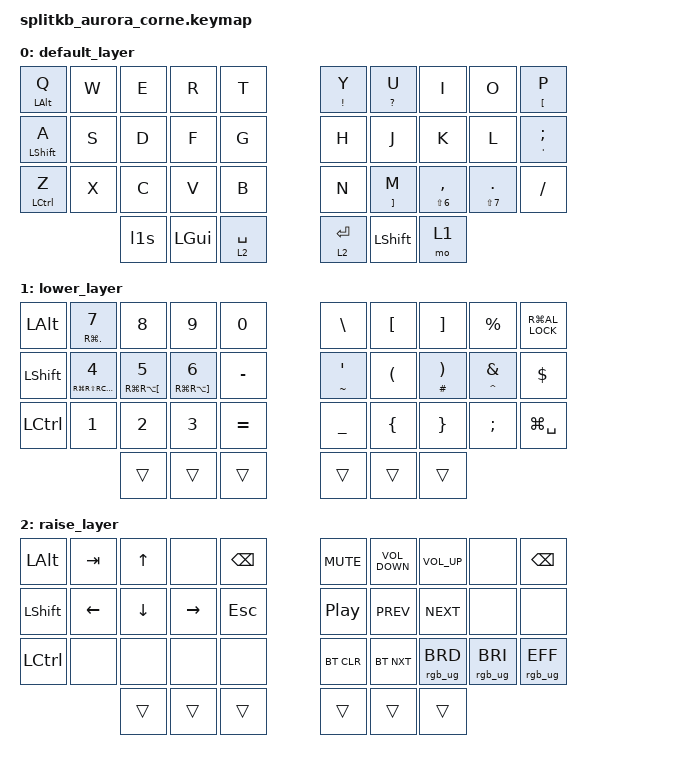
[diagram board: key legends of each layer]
/*
 * Copyright (c) 2020 The ZMK Contributors
 *
 * SPDX-License-Identifier: MIT
 */

#include <behaviors.dtsi>
#include <dt-bindings/zmk/bt.h>
#include <dt-bindings/zmk/keys.h>
#include <dt-bindings/zmk/rgb.h>
#include <dt-bindings/zmk/ext_power.h>

&led_strip {
    chain-length = <2>;
};
&mt {
    flavor = "tap-preferred";
};
/ {
    chosen {
        zmk,matrix_transform = &five_column_transform;
        zmk,battery = &vbatt;
    };

    vbatt: vbatt {
        compatible = "zmk,battery-nrf-vddh";
        label = "VBATT";
    };
    behaviors {
        l1s: tap_dance_mod_tap_3 {
                compatible = "zmk,behavior-tap-dance";
                #binding-cells = <0>;
                tapping-term-ms = <200>;
                bindings = <&mo 1>, <&kp RET>;
                };
    };
    keymap {
        compatible = "zmk,keymap";

        default_layer {
                        bindings = <
                        &mt LALT Q  &kp W       &kp E     &kp R     &kp T         &mt EXCL Y      &mt QUESTION U        &kp I                    &kp O                  &mt LEFT_BRACKET P
                        &mt LSHFT A &kp S       &kp D     &kp F     &kp G         &kp H           &kp J                 &kp K                    &kp L                  &mt SQT SEMI
                        &mt LCTRL Z &kp X       &kp C     &kp V     &kp B         &kp N           &mt RIGHT_BRACKET M   &mt LS(NUMBER_6) COMMA   &mt LS(NUMBER_7) DOT   &kp FSLH
                                                &l1s      &kp LGUI  &lt 2 SPACE   &lt 2 RET       &kp LSHFT             &mo 1
                        >;
                };
                lower_layer {
                        bindings = <
                        &kp LALT   &mt RG(PERIOD) NUMBER_7            &kp N8                      &kp N9                              &kp N0      &kp BACKSLASH       &kp LEFT_BRACKET      &kp RIGHT_BRACKET           &kp PERCENT            &kp RG(C_AL_LOCK)
                        &kp LSHFT  &mt RG(RS(RC(NUMBER_4))) NUMBER_4  &mt RG(RA(LEFT_BRACKET)) N5 &mt RG(RA(RIGHT_BRACKET)) NUMBER_6  &kp MINUS   &mt TILDE SQT       &kp LEFT_PARENTHESIS  &mt HASH RIGHT_PARENTHESIS  &mt CARET AMPERSAND    &kp DOLLAR
                        &kp LCTRL  &kp NUMBER_1                       &kp NUMBER_2                &kp NUMBER_3                        &kp EQUAL   &kp UNDER           &kp LEFT_BRACE        &kp RIGHT_BRACE             &kp SEMICOLON          &kp LG(SPACE)
                                                                      &trans                      &trans                              &trans      &trans              &trans                &trans
                        >;
                };
                raise_layer {
                        bindings = <
                        &kp LALT    &kp TAB         &kp UP_ARROW    &none            &kp BACKSPACE        &kp C_MUTE         &kp C_VOLUME_DOWN &kp C_VOLUME_UP    &none            &kp BACKSPACE   
                        &kp LSHFT   &kp LEFT_ARROW  &kp DOWN_ARROW  &kp RIGHT_ARROW  &kp ESCAPE           &kp C_PLAY_PAUSE   &kp C_PREV        &kp C_NEXT         &none            &none  
                        &kp LCTRL   &none           &none           &none            &none                &bt BT_CLR         &bt BT_NXT        &rgb_ug RGB_BRD    &rgb_ug RGB_BRI  &rgb_ug RGB_EFF  
                                                    &trans          &trans           &trans               &trans             &trans            &trans
                        >;
                };

    };
};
